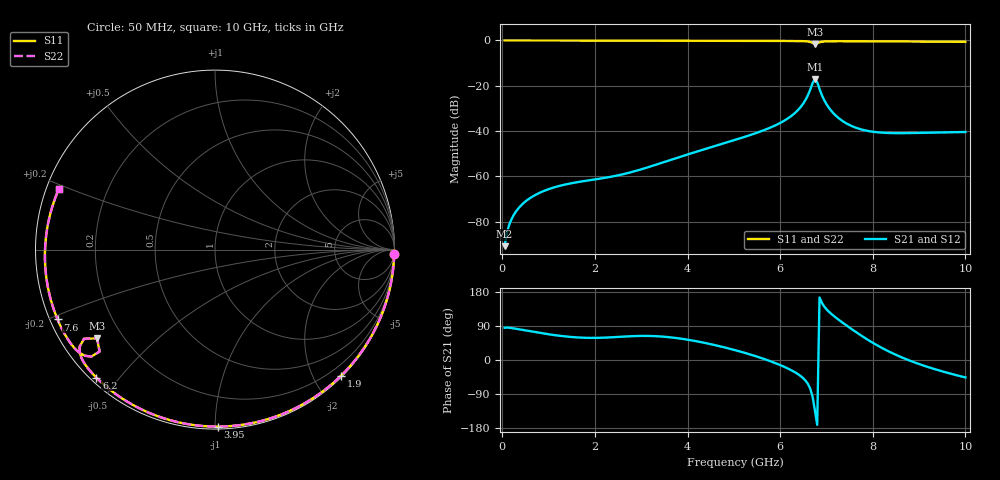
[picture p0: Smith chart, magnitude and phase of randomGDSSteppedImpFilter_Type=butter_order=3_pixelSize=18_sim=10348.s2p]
! freq	dB(S11)	phase(S11)	dB(S12)	phase(S12)
!  dB(S21)	phase(S21)	dB(S22)	phase(S22)
!S-par simulation data
#  GHz  S  DB  R 50
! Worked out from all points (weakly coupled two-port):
!   200 points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, 50 MHz to 10 GHz, reference 50 ohm
!   highest |S21| = -17.06 dB at 6.75 GHz (marker M1); lowest = -90.7 dB at 50 MHz (marker M2)
!   lowest |S11| = -1.7 dB at 6.75 GHz (marker M3), VSWR 10.26, Z = 5.41 - j16.5 ohm
!   |S11| at or under -10 dB: nowhere
!   |S22| runs from -1.7 to 0.0 dB; largest |S21 - S12| = 0
!   S11 on the Smith chart (normalised r, x): 50 MHz: 5, -91; 1.9 GHz: 0.02, -2.42; 3.95 GHz: 0.01, -1.02; 6.2 GHz: 0.02, -0.44; 7.6 GHz: 0.02, -0.21; 10 GHz: 0.04, +0.19
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0.05  -0.01 -1.2  -90.74 84.9  -90.74 84.9  -0.01 -1.2
0.15  -0.01 -3.6  -81.29 85.1  -81.29 85.1  -0.01 -3.6
0.4  -0.02 -9.7  -72.89 80.1  -72.89 80.1  -0.02 -9.7
0.75  -0.02 -18.0  -67.75 72.6  -67.75 72.6  -0.02 -18.0
1.15  -0.03 -27.5  -64.62 65.3  -64.62 65.3  -0.03 -27.5
1.75  -0.05 -41.5  -62.08 58.8  -62.08 58.8  -0.05 -41.5
1.9  -0.06 -44.9  -61.61 58.3  -61.61 58.3  -0.06 -44.9
3.4  -0.10 -77.7  -54.28 62.3  -54.28 62.3  -0.10 -77.7
3.95  -0.12 -89.1  -50.63 54.6  -50.63 54.6  -0.12 -89.1
5.05  -0.17 -110.7  -43.73 25.2  -43.73 25.2  -0.17 -110.7
5.75  -0.20 -124.1  -38.77 -1.5  -38.77 -1.5  -0.20 -124.1
6.2  -0.24 -132.8  -33.93 -24.4  -33.93 -24.4  -0.24 -132.8
6.5  -0.32 -139.5  -27.80 -48.3  -27.80 -48.3  -0.32 -139.5
6.7  -1.08 -145.8  -18.88 -96.9  -18.88 -96.9  -1.08 -145.8
6.75  -1.70 -143.0  -17.06 -132.7  -17.06 -132.7  -1.71 -143.0
6.85  -0.82 -139.1  -21.40 165.0  -21.40 165.0  -0.82 -139.1
6.95  -0.48 -142.3  -26.28 141.3  -26.28 141.3  -0.48 -142.3
7.1  -0.37 -146.1  -30.96 122.1  -30.96 122.1  -0.37 -146.1
7.3  -0.35 -150.3  -34.84 102.9  -34.84 102.9  -0.35 -150.3
7.6  -0.36 -156.1  -38.23 76.8  -38.23 76.8  -0.36 -156.0
8.35  -0.42 -170.0  -40.83 22.3  -40.83 22.3  -0.42 -169.9
10  -0.60 158.6  -40.38 -46.0  -40.38 -46.0  -0.60 158.7
